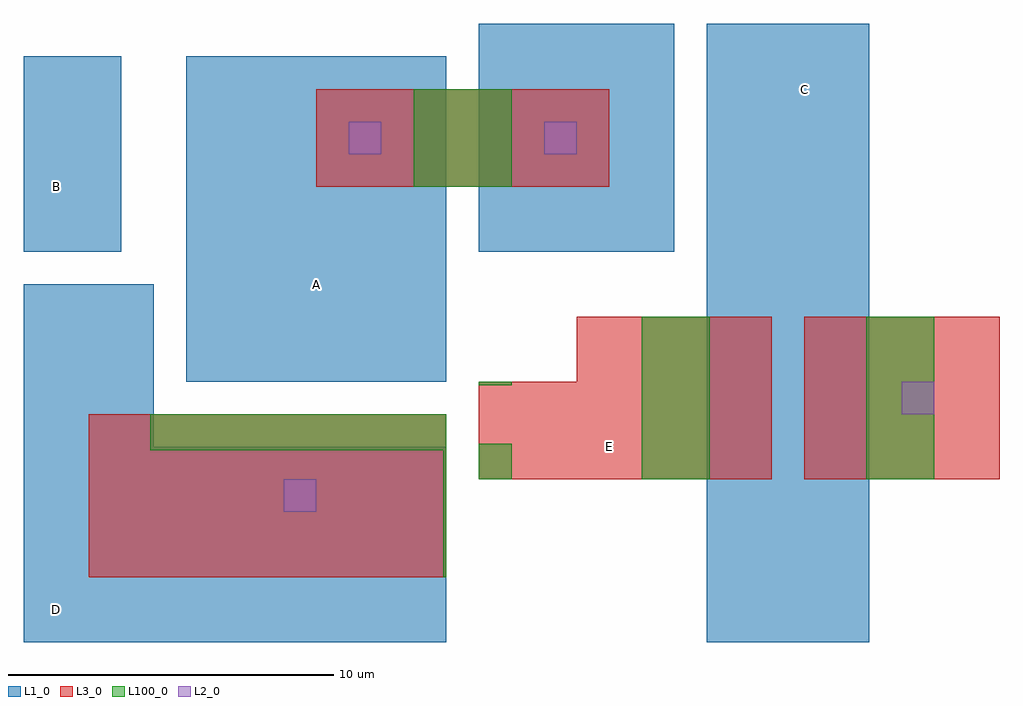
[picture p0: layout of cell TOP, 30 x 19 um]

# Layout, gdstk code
import gdstk
lib = gdstk.Library(unit=1e-6, precision=1e-09)
def R(c, l, rs):  # rectangles x0, y0, x1, y1
    for r in rs: c.add(gdstk.rectangle(r[:2], r[2:], *l))
L1_0 = (1, 0)
L2_0 = (2, 0)
L3_0 = (3, 0)
L100_0 = (100, 0)

top = lib.new_cell('TOP')
R(top, L1_0, [(-15,-10,-11,1), (-11,-10,-2,-4), (6,-10,11,9), (-10,-2,-2,8), (-15,2,-12,8), (-1,2,5,9)])
R(top, L2_0, [(-7,-6,-6,-5), (12,-3,13,-2), (-5,5,-4,6), (1,5,2,6)])
R(top, L3_0, [(-13,-8,-2,-3), (-1,-5,8,-2), (9,-5,15,0), (2,-2,8,0), (-6,4,3,7)])
R(top, L100_0, [(-2.101,-8,-2,-5), (-2.101,-5,-2,-4), (-1,-5,0.001,-4), (3.999,-5,6.101,0), (10.899,-5,13.001,-3), (-11.101,-4.101,-11,-3), (-11.101,-4.101,-8.999,-4), (-11,-4.101,-10,-3), (-10,-4.101,-2,-3), (-10.101,-4.001,-10,-3), (-10,-4.001,-2,-3), (-11.101,-4,-8.999,-3), (-2.101,-4,-2,-3.899), (-1,-4,0.001,-3.899), (10.899,-3,13.001,-2), (-1,-2.101,0.001,-2), (10.899,-2,13.001,0), (2,-0.001,5,0), (5,-0.001,5.101,0), (-3.001,4,-0.899,7), (-2.101,4,0.001,7)])
top.add(gdstk.Label('A', (-6,1), layer=1, texttype=0))
top.add(gdstk.Label('B', (-14,4), layer=1, texttype=0))
top.add(gdstk.Label('C', (9,7), layer=1, texttype=0))
top.add(gdstk.Label('D', (-14,-9), layer=1, texttype=0))
top.add(gdstk.Label('E', (3,-4), layer=3, texttype=0))

lib.write_gds('TOP.gds')
